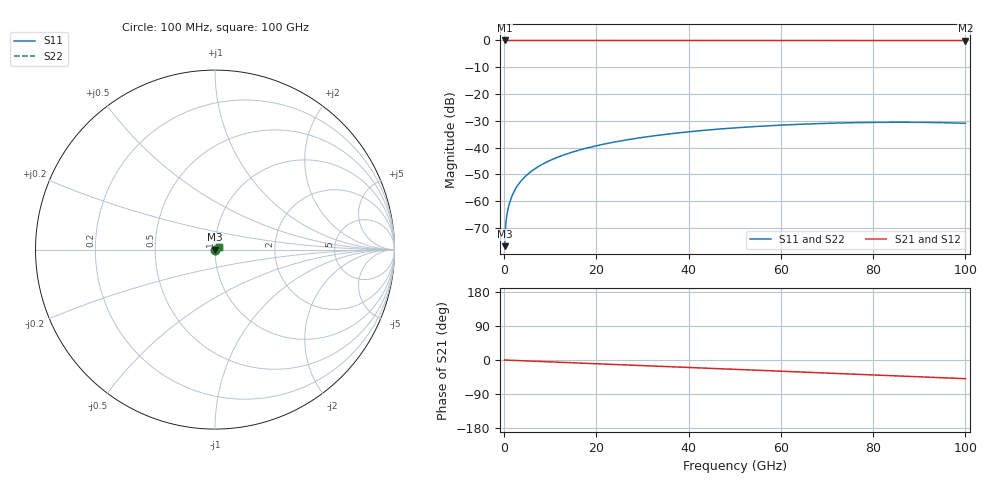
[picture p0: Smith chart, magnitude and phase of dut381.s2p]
! Touchstone file exported from HFSS 2026.1.0
!  File:  C:/ffzhzh/LocalFiles/Ansys_Project_Files/temp_train_TSV_381_1783510528_9504.aedt
!  Generated:  07:36:43 PM Jul  8, 2026
!  Design:  TSV
!  Project:  temp_train_TSV_381_1783510528_9504
! Variables:
!  h_bsmrdl = 2um
!  h_ox = 20um
!  h_rdl = 5um
!  h_sub = 98.51um
!  h_tmrdl = 5um
!  h_tsv = 98.51um
!  h_via = 3um
!  l_bsmrdl = 300um
!  l_sub = 425.74um
!  l_tmrdl = 200um
!  m_sub = 200um
!  pitch = 55.46um
!  r_tsv = 12.87um
!  s_tmrdl = 10um
!  w_bsmrdl = 18um
!  w_sub = 500um
!  w_tmrdl = 12um
!  x_tsv_center1 = 206um
!  x_tsv_center2 = 524um
!  x_tsv_center3 = 736um
!  x_tsv_center4 = 1054um
!  x_tsv_center5 = 1266um
!  x_tsv_center6 = 1584um
# GHz S MA R 50.000000
! Terminal data exported
! Port[1] = TSV1_1_T1
! Port[2] = TSV1_1_T2
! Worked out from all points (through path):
!   1000 points, 100 MHz to 100 GHz, reference 50 ohm
!   highest |S21| = 0.00 dB at 100 MHz (marker M1); lowest = 0.0 dB at 100 GHz (marker M2)
!   group delay of S21, straight-line fit = 1.37 ps
!   lowest |S11| = -76.9 dB at 100 MHz (marker M3), VSWR 1.00, Z = 50 + j0.0102 ohm
!   |S11| at or under -10 dB: start of sweep to end of sweep
!   |S22| runs from -76.9 to -30.6 dB; largest |S21 - S12| = 3.8e-15
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0.1  0.0001434 45.4  0.9999 -0.1  0.9999 -0.1  0.0001434 45.4
! Gamma 0 0 0 0
! Port Impedance 50 0 50 0
0.3  0.0003203 63.9  0.9999 -0.2  0.9999 -0.2  0.0003203 63.9
0.7  0.0006211 67.7  0.9998 -0.4  0.9998 -0.4  0.0006211 67.7
0.8  0.0006866 68.2  0.9997 -0.4  0.9997 -0.4  0.0006866 68.2
1  0.0008127 69.3  0.9997 -0.5  0.9997 -0.5  0.0008127 69.3
1.3  0.0009964 70.7  0.9997 -0.7  0.9997 -0.7  0.0009964 70.7
1.8  0.001297 72.5  0.9996 -0.9  0.9996 -0.9  0.001297 72.5
2.4  0.00165 73.8  0.9996 -1.2  0.9996 -1.2  0.00165 73.8
3.1  0.002052 74.7  0.9995 -1.5  0.9995 -1.5  0.002052 74.7
3.9  0.0025 75.4  0.9994 -1.9  0.9994 -1.9  0.0025 75.4
4.9  0.003049 75.9  0.9994 -2.4  0.9994 -2.4  0.003049 75.9
6.1  0.003697 76.3  0.9993 -3.0  0.9993 -3.0  0.003697 76.3
8.9  0.005183 76.4  0.9992 -4.4  0.9992 -4.4  0.005183 76.4
12.4  0.006999 75.7  0.999 -6.1  0.999 -6.1  0.006999 75.7
16.8  0.009211 74.5  0.9988 -8.3  0.9988 -8.3  0.009211 74.5
24.3  0.01283 71.9  0.9985 -12.0  0.9985 -12.0  0.01283 71.9
33.4  0.01693 68.2  0.9982 -16.4  0.9982 -16.4  0.01693 68.2
41.3  0.02015 64.8  0.998 -20.3  0.998 -20.3  0.02015 64.7
50.1  0.02329 60.8  0.9977 -24.6  0.9977 -24.6  0.02329 60.6
66.7  0.02768 53.0  0.9972 -32.8  0.9972 -32.8  0.02768 52.8
83.4  0.02961 44.9  0.9968 -41.0  0.9968 -41.0  0.02962 44.7
100  0.02833 36.8  0.9963 -49.3  0.9963 -49.3  0.02834 36.5
